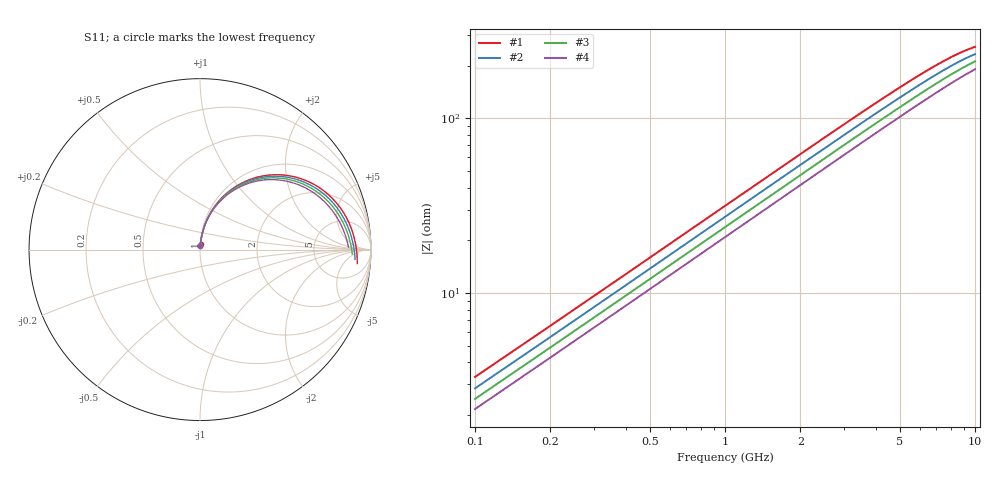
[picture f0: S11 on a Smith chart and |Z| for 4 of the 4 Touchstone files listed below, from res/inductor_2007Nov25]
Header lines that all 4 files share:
# GHZ S MA R 50.00000
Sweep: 100 MHz to 10 GHz
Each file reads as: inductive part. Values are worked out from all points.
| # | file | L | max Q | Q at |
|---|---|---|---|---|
| 1 | inductor_1_width_3_dielectric_35.s2p | 5.19 nH | 222 | 10 GHz |
| 2 | inductor_1_width_4_dielectric_35.s2p | 4.47 nH | 221 | 9.95 GHz |
| 3 | inductor_1_width_5_dielectric_35.s2p | 3.89 nH | 224 | 10 GHz |
| 4 | inductor_1_width_6_dielectric_35.s2p | 3.41 nH | 221 | 10 GHz |
